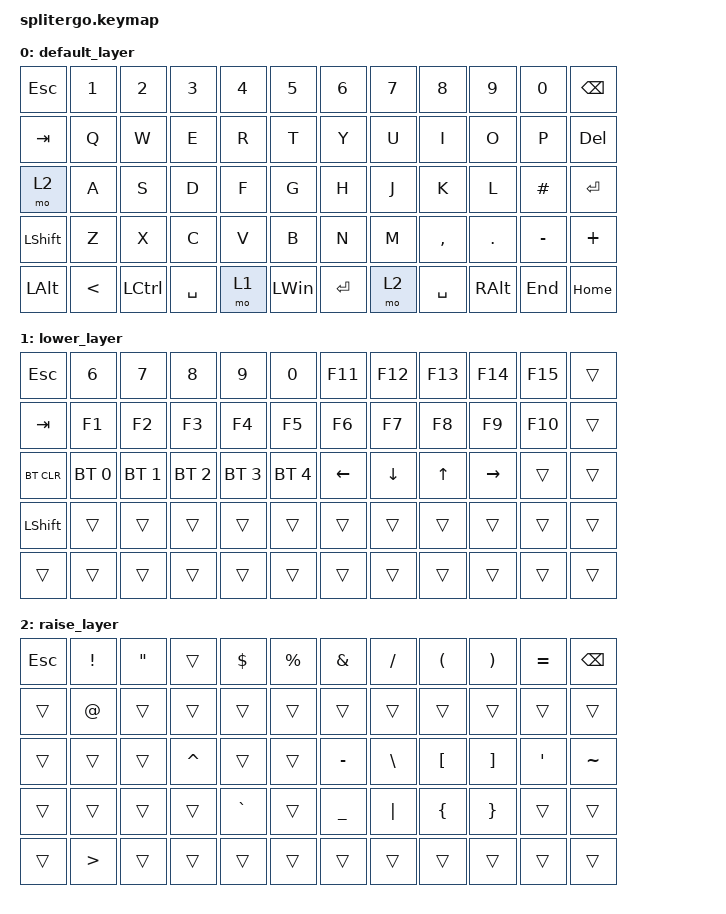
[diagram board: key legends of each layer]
#include <behaviors.dtsi>
#include <dt-bindings/zmk/keys.h>
#include <dt-bindings/zmk/bt.h>
#define DEFAULT 0
#define LOWER 1
#define RAISE 2

/ {
        keymap {
                compatible = "zmk,keymap";

                default_layer {
// -----------------------------------------------------------------------------------------
// |  ESC |  1  |  2  |  3  |  4  |  5  |    |  6  |  7   |  8  |  9  |  0  | BSPC |
// |  TAB |  Q  |  W  |  E  |  R  |  T  |    |  Y  |  U   |  I  |  O  |  P  | ENTF |
// | raise|  A  |  S  |  D  |  F  |  G  |    |  H  |  J   |  K  |  L  |  #  |  RET |
// | SHFT |  Z  |  X  |  C  |  V  |  B  |    |  N  |  M   |  ,  |  .  |  -  |  +   |
// | Alt  | <  | CTRL | SPC | LWR | Win |    | ENT | RiSE | SPC | ALT | ENDE| POS1 |
                        bindings = <
   &kp ESC   &kp N1 &kp N2     &kp N3     &kp N4  &kp N5      &kp N6  &kp N7  &kp N8    &kp N9   &kp N0    &kp BSPC                     
   &kp TAB   &kp Q  &kp W      &kp E      &kp R   &kp T       &kp Y   &kp U   &kp I     &kp O    &kp P     &kp DEL
   &mo 2     &kp A  &kp S      &kp D      &kp F   &kp G       &kp H   &kp J   &kp K     &kp L    &kp POUND &kp RET
   &kp LSHFT &kp Z  &kp X      &kp C      &kp V   &kp B       &kp N   &kp M   &kp COMMA &kp DOT  &kp MINUS &kp PLUS
   &kp LALT  &kp LT &kp LCTRL  &kp SPACE  &mo 1   &kp LWIN    &kp RET &mo 2   &kp SPACE &kp RALT &kp END   &kp HOME
                        >;
                };
                lower_layer {
// -----------------------------------------------------------------------------------------
// |  ESC |  6  |  7  |  8  |  9  |  0  |   | F11 | F12 | F13 | F14 | F15 | BSPC |
// |  TAB |  F1 |  F2 |  F  |  F4 |  F5 |   |  F6 |  F7 |  F8 |  F9 | F10 |      |
// | BTCLR| BT1 | BT2 | BT3 | BT4 | BT5 |   | LFT | DWN |  UP | RGT |     |      |
// | SHFT |     |     |     |     |     |   |     |     |     |     |     |      |
//                    |     |     |     |   |     |     |     |
                        bindings = <
   &kp ESC    &kp N6       &kp N7       &kp N8       &kp N9       &kp N0          &kp F11  &kp F12  &kp F13  &kp F14   &kp F15  &trans
   &kp TAB    &kp F1       &kp F2       &kp F3       &kp F4       &kp F5          &kp F6   &kp F7   &kp F8   &kp F9    &kp F10  &trans
   &bt BT_CLR  &bt BT_SEL 0  &bt BT_SEL 1  &bt BT_SEL 2  &bt BT_SEL 3  &bt BT_SEL 4    &kp LEFT &kp DOWN &kp UP   &kp RIGHT &trans   &trans
   &kp LSHFT  &trans       &trans       &trans       &trans       &trans          &trans   &trans   &trans   &trans    &trans   &trans
   &trans     &trans       &trans       &trans       &trans       &trans          &trans   &trans   &trans   &trans    &trans   &trans
                        >;
                };

                raise_layer {
// -----------------------------------------------------------------------------------------
// |  ESC |  !  |  "  |  §  |  $  |  %  |   |  &  |  /  |  (  |  )  |  =  | BSPC |
// |  TAB |  @  |     |  €  |     |     |   |     |  ü  |     |  ö  |     |      |
// | CTRL |  ä  |  ß  |  ^  |  ´  |     |   |  -  |  \  |  [  |  ]  |  '  |  ~   |
// | SHFT |     |     |  °  |  `  |     |   |  _  | "|" |  {  |  }  |     |      |
//           >         |    |     |     |   |     |     |     |
                        bindings = <
   &kp ESC   &kp EXCL &kp DQT  &trans         &kp DLLR   &kp PRCNT       &kp AMPS   &kp FSLH  &kp LPAR  &kp RPAR  &kp EQUAL &kp BSPC
   &trans    &kp AT   &trans   &trans         &trans     &trans          &trans     &trans    &trans    &trans    &trans &trans
   &trans    &trans   &trans   &kp CARET      &trans     &trans          &kp MINUS  &kp BSLH  &kp LBKT  &kp RBKT  &kp APOS &kp TILDE
   &trans    &trans   &trans   &trans         &kp GRAVE  &trans          &kp UNDER  &kp PIPE  &kp LBRC  &kp RBRC  &trans   &trans
   &trans    &kp GT   &trans   &trans         &trans     &trans          &trans     &trans    &trans    &trans    &trans   &trans
                        >;
                };
        };
};
